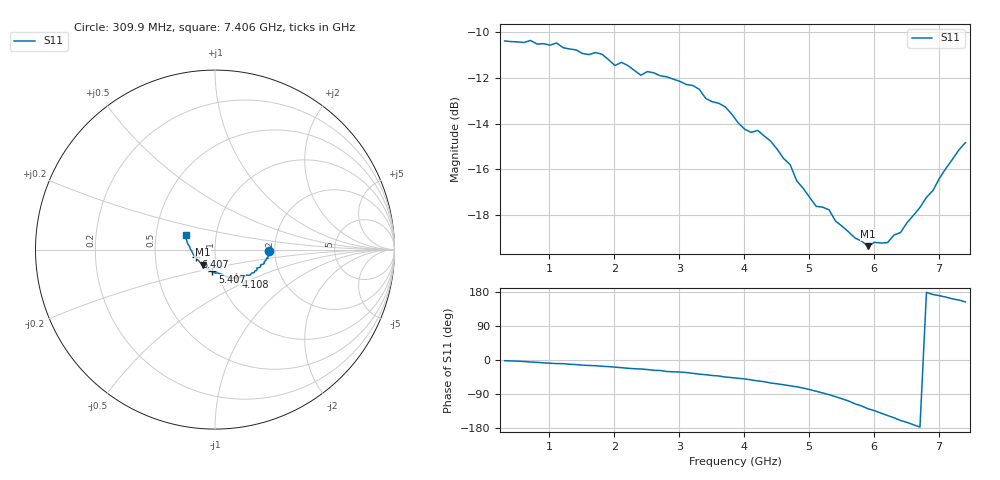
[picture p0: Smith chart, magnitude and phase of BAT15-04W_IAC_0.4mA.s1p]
! Infineon Technologies  Discrete & RF Semiconductors
! BAT15-04W-E6327
! IAC = 0.4 mA
! One-Port S-Parameters
# Hz  S  MA  R  50
!f  S11
!Hz  Mag  Ang
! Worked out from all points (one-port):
!   72 points, 309.9 MHz to 7.406 GHz, reference 50 ohm
!   lowest |S11| = -19.3 dB at 5.907 GHz (marker M1), VSWR 1.24, Z = 43.1 - j7.35 ohm
!   |S11| at or under -10 dB: start of sweep to end of sweep
!   S11 on the Smith chart (normalised r, x): 309.9 MHz: 1.86, -0.04; 4.108 GHz: 1.20, -0.38; 5.407 GHz: 0.94, -0.23; 6.407 GHz: 0.80, -0.07; 7.406 GHz: 0.71, +0.12
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3.0985e8  0.3022 -1.9
1.10945e9  0.2992 -9.4
1.2094e9  0.2923 -9.6
1.8091e9  0.2828 -16.5
2.009e9  0.2672 -18.8
2.10895e9  0.2715 -20.3
2.4088e9  0.2545 -23.8
2.50875e9  0.2592 -25.2
3.0085e9  0.2467 -31.7
3.2084e9  0.2417 -35.3
3.4083e9  0.2263 -38.8
3.70815e9  0.217 -45.0
3.90805e9  0.2002 -48.2
4.10795e9  0.191 -52.6
4.2079e9  0.1928 -55.1
4.4078e9  0.1827 -60.8
4.70765e9  0.1624 -68.1
4.8076e9  0.1498 -70.6
5.10745e9  0.1317 -82.4
5.30735e9  0.1294 -91.5
5.4073e9  0.1223 -96.9
5.70715e9  0.1124 -115.6
5.90705e9  0.1078 -128.6
6.2069e9  0.1097 -146.4
6.4068e9  0.1155 -159.4
6.6067e9  0.126 -170.8
7.10645e9  0.1594 166.0
7.4063e9  0.1813 153.3
